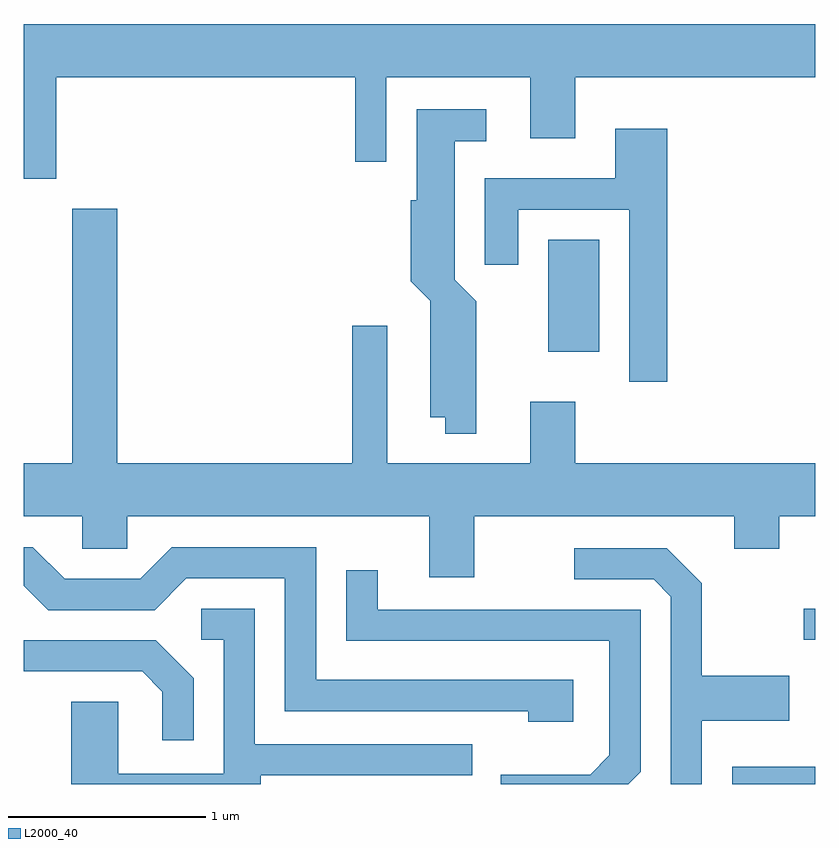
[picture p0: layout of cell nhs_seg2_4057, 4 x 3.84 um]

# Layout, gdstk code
import gdstk
lib = gdstk.Library(unit=1e-6, precision=1e-09)
def R(c, l, rs):  # rectangles x0, y0, x1, y1
    for r in rs: c.add(gdstk.rectangle(r[:2], r[2:], *l))
def P(c, l, *ps):  # polygons
    for p in ps: c.add(gdstk.Polygon(p, *l))
L2000_40 = (2000, 40)

nhs_seg2_4057 = lib.new_cell('nhs_seg2_4057')
R(nhs_seg2_4057, L2000_40, [(307.191,1095.802,307.611,1095.889), (307.553,1096.531,307.611,1096.689), (306.261,1097.986,306.519,1098.554)])
P(nhs_seg2_4057, L2000_40, [(303.774,1099.376),(305.286,1099.376),(305.286,1098.948),(305.444,1098.948),(305.444,1099.376),(306.171,1099.376),(306.171,1099.066),(306.399,1099.066),(306.399,1099.376),(307.611,1099.376),(307.611,1099.644),(303.611,1099.644),(303.611,1098.861),(303.774,1098.861)],
  [(305.899,1098.242),(305.789,1098.352),(305.789,1099.051),(305.948,1099.051),(305.948,1099.214),(305.596,1099.214),(305.596,1098.754),(305.566,1098.754),(305.566,1098.344),(305.666,1098.244),(305.666,1097.656),(305.741,1097.656),(305.741,1097.573),(305.899,1097.573)],
  [(306.864,1099.114),(306.601,1099.114),(306.601,1098.864),(305.941,1098.864),(305.941,1098.428),(306.109,1098.428),(306.109,1098.706),(306.671,1098.706),(306.671,1097.836),(306.864,1097.836)],
  [(305.449,1098.119),(305.271,1098.119),(305.271,1097.424),(304.084,1097.424),(304.084,1098.709),(303.856,1098.709),(303.856,1097.424),(303.611,1097.424),(303.611,1097.156),(303.906,1097.156),(303.906,1096.991),(304.134,1096.991),(304.134,1097.156),(305.661,1097.156),(305.661,1096.846),(305.889,1096.846),(305.889,1097.156),(307.201,1097.156),(307.201,1096.991),(307.429,1096.991),(307.429,1097.156),(307.611,1097.156),(307.611,1097.424),(306.399,1097.424),(306.399,1097.734),(306.171,1097.734),(306.171,1097.424),(305.449,1097.424)],
  [(306.389,1096.329),(305.089,1096.329),(305.089,1096.999),(304.359,1096.999),(304.199,1096.839),(303.817,1096.839),(303.657,1096.999),(303.611,1096.999),(303.611,1096.804),(303.734,1096.681),(304.272,1096.681),(304.432,1096.841),(304.931,1096.841),(304.931,1096.171),(306.161,1096.171),(306.161,1096.116),(306.389,1096.116)],
  [(307.039,1096.121),(307.479,1096.121),(307.479,1096.349),(307.039,1096.349),(307.039,1096.817),(306.862,1096.994),(306.393,1096.994),(306.393,1096.836),(306.794,1096.836),(306.881,1096.749),(306.881,1095.802),(307.039,1095.802)],
  [(306.729,1095.864),(306.729,1096.684),(305.399,1096.684),(305.399,1096.883),(305.241,1096.883),(305.241,1096.526),(306.571,1096.526),(306.571,1095.947),(306.474,1095.849),(306.021,1095.849),(306.021,1095.802),(306.667,1095.802)],
  [(304.809,1095.846),(305.878,1095.846),(305.878,1096.004),(304.779,1096.004),(304.779,1096.689),(304.508,1096.689),(304.508,1096.531),(304.621,1096.531),(304.621,1095.854),(304.089,1095.854),(304.089,1096.219),(303.851,1096.219),(303.851,1095.802),(304.809,1095.802)],
  [(304.469,1096.337),(304.277,1096.529),(303.611,1096.529),(303.611,1096.371),(304.209,1096.371),(304.311,1096.269),(304.311,1096.023),(304.469,1096.023)])

lib.write_gds('nhs_seg2_4057.gds')
